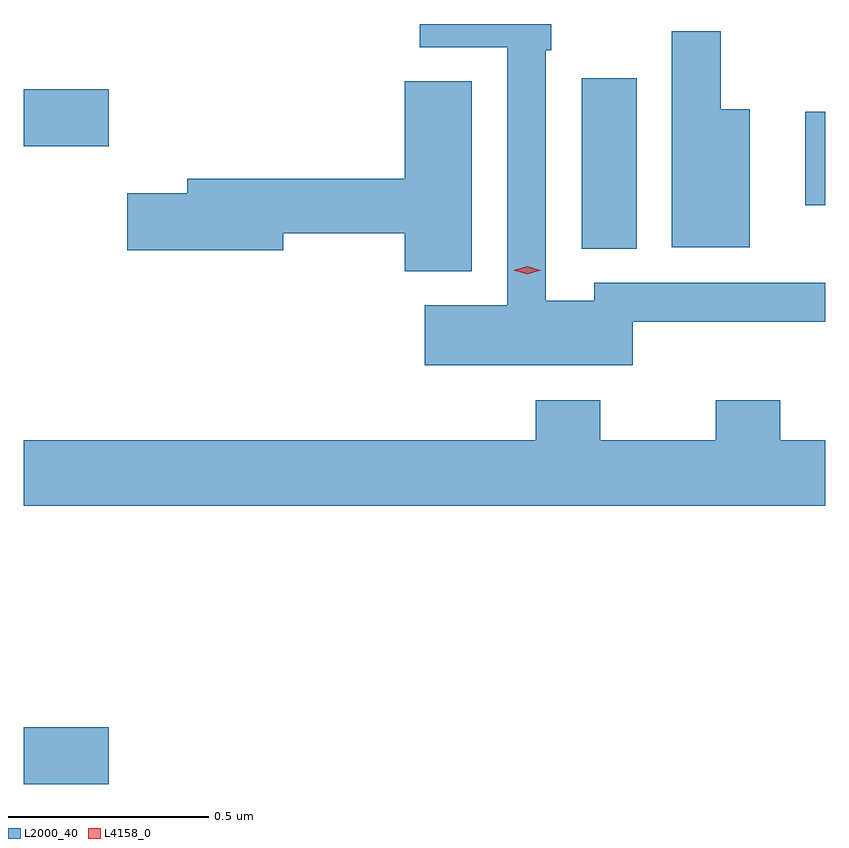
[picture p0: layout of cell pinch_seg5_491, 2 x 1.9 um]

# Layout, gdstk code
import gdstk
lib = gdstk.Library(unit=1e-6, precision=1e-09)
def R(c, l, rs):  # rectangles x0, y0, x1, y1
    for r in rs: c.add(gdstk.rectangle(r[:2], r[2:], *l))
def P(c, l, *ps):  # polygons
    for p in ps: c.add(gdstk.Polygon(p, *l))
L2000_40 = (2000, 40)
L4158_0 = (4158, 0)

pinch_seg5_491 = lib.new_cell('pinch_seg5_491')
R(pinch_seg5_491, L2000_40, [(889.907,837.418,890.119,837.56), (891.299,838.753,891.436,839.179), (891.857,838.862,891.907,839.095), (889.907,839.009,890.119,839.151)])
P(pinch_seg5_491, L2000_40, [(891.426,838.571),(891.907,838.571),(891.907,838.668),(891.33,838.668),(891.33,838.624),(891.21,838.624),(891.21,839.249),(891.223,839.249),(891.223,839.314),(890.895,839.314),(890.895,839.256),(891.114,839.256),(891.114,838.612),(890.907,838.612),(890.907,838.463),(891.426,838.463)],
  [(891.718,839.101),(891.646,839.101),(891.646,839.296),(891.524,839.296),(891.524,838.757),(891.718,838.757)],
  [(891.025,839.171),(890.858,839.171),(890.858,838.928),(890.315,838.928),(890.315,838.892),(890.166,838.892),(890.166,838.75),(890.554,838.75),(890.554,838.792),(890.858,838.792),(890.858,838.697),(891.025,838.697)],
  [(891.907,838.276),(891.794,838.276),(891.794,838.375),(891.634,838.375),(891.634,838.276),(891.345,838.276),(891.345,838.375),(891.185,838.375),(891.185,838.276),(889.907,838.276),(889.907,838.112),(891.907,838.112)])
P(pinch_seg5_491, L4158_0, [(891.163,838.69),(891.128,838.7),(891.128,838.7),(891.128,838.7),(891.163,838.71),(891.197,838.7),(891.198,838.7),(891.197,838.7)])

lib.write_gds('pinch_seg5_491.gds')
